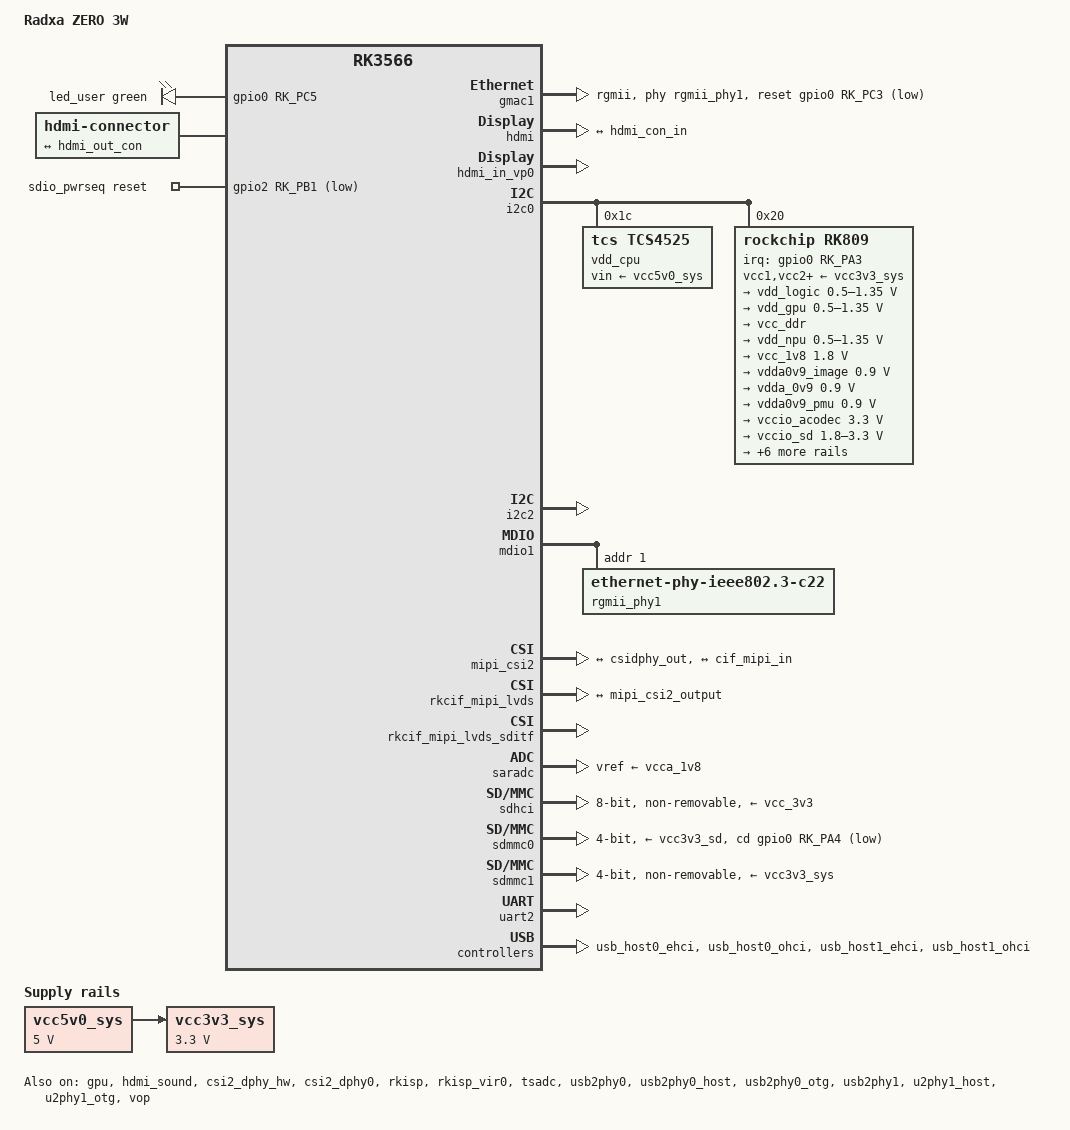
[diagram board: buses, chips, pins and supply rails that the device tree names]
// SPDX-License-Identifier: (GPL-2.0+ OR MIT)
/*
 * Copyright (c) 2024 Radxa Limited
 * Copyright (c) 2024 Retrofactory
 *
 * https://radxa.com/products/zeros/zero3w
 */

/dts-v1/;

#include <dt-bindings/gpio/gpio.h>
#include <dt-bindings/leds/common.h>
#include <dt-bindings/pinctrl/rockchip.h>
#include <dt-bindings/soc/rockchip,vop2.h>
#include "rk3566.dtsi"

/ {
	model = "Radxa ZERO 3W";
	compatible = "radxa,zero-3w", "rockchip,rk3566";

	aliases {
		ethernet0 = &gmac1;
		mmc0 = &sdhci;
		mmc1 = &sdmmc0;
		mmc2 = &sdmmc1;
	};

	chosen {
		stdout-path = "serial2:1500000n8";
	};

	leds {
		compatible = "gpio-leds";
		pinctrl-names = "default";
		pinctrl-0 = <&led_user_en>;

		led_user: led-0 {
			gpios = <&gpio0 RK_PC5 GPIO_ACTIVE_HIGH>;
			function = LED_FUNCTION_HEARTBEAT;
			color = <LED_COLOR_ID_GREEN>;
			linux,default-trigger = "heartbeat";
		};
	};

	hdmi-con {
		compatible = "hdmi-connector";
		type = "d";

		port {
			hdmi_con_in: endpoint {
				remote-endpoint = <&hdmi_out_con>;
			};
		};
	};

	vcc5v0_sys: vcc5v0-sys-regulator {
		compatible = "regulator-fixed";
		regulator-name = "vcc5v0_sys";
		regulator-always-on;
		regulator-boot-on;
		regulator-min-microvolt = <5000000>;
		regulator-max-microvolt = <5000000>;
	};

	vcc3v3_sys: vcc3v3-sys-regulator {
		compatible = "regulator-fixed";
		regulator-name = "vcc3v3_sys";
		regulator-always-on;
		regulator-boot-on;
		regulator-min-microvolt = <3300000>;
		regulator-max-microvolt = <3300000>;
		vin-supply = <&vcc5v0_sys>;
	};

	sdio_pwrseq: sdio-pwrseq {
		compatible = "mmc-pwrseq-simple";
		clocks = <&rk809 1>;
		clock-names = "ext_clock";
		pinctrl-names = "default";
		pinctrl-0 = <&wifi_enable_h>;
		post-power-on-delay-ms = <200>;
		reset-gpios = <&gpio2 RK_PB1 GPIO_ACTIVE_LOW>;
	};
};

/* combphy1 and combphy2 not defined in Rockchip vendor kernel - skipped */

&cpu0 {
	cpu-supply = <&vdd_cpu>;
};

&cpu1 {
	cpu-supply = <&vdd_cpu>;
};

&cpu2 {
	cpu-supply = <&vdd_cpu>;
};

&cpu3 {
	cpu-supply = <&vdd_cpu>;
};

&gmac1 {
	assigned-clocks = <&cru SCLK_GMAC1_RX_TX>, <&cru SCLK_GMAC1>;
	assigned-clock-parents = <&cru SCLK_GMAC1_RGMII_SPEED>, <&cru CLK_MAC1_2TOP>;
	assigned-clock-rates = <0>, <125000000>;
	clock_in_out = "output";
	phy-handle = <&rgmii_phy1>;
	phy-mode = "rgmii";
	pinctrl-names = "default";
	pinctrl-0 = <&gmac1m0_miim
		     &gmac1m0_tx_bus2
		     &gmac1m0_rx_bus2
		     &gmac1m0_rgmii_clk
		     &gmac1m0_rgmii_bus
		     &gmac1m0_clkinout>;
	snps,reset-gpio = <&gpio0 RK_PC3 GPIO_ACTIVE_LOW>;
	snps,reset-active-low;
	snps,reset-delays-us = <0 20000 100000>;
	tx_delay = <0x3c>;
	rx_delay = <0x2f>;
	status = "okay";
};

&gpu {
	mali-supply = <&vdd_gpu>;
	status = "okay";
};

&hdmi {
	avdd-0v9-supply = <&vdda0v9_image>;
	avdd-1v8-supply = <&vcca1v8_image>;
	status = "okay";

	ports {
		port@1 {
			reg = <1>;
			
			hdmi_out_con: endpoint {
				remote-endpoint = <&hdmi_con_in>;
			};
		};
	};
};

&hdmi_in_vp0 {
	remote-endpoint = <&vp0_out_hdmi>;
	status = "okay";
};

&hdmi_sound {
	status = "okay";
};

&i2c0 {
	status = "okay";

	vdd_cpu: regulator@1c {
		compatible = "tcs,tcs4525";
		reg = <0x1c>;
		fcs,suspend-voltage-selector = <1>;
		regulator-name = "vdd_cpu";
		regulator-always-on;
		regulator-boot-on;
		regulator-min-microvolt = <800000>;
		regulator-max-microvolt = <1150000>;
		regulator-ramp-delay = <2300>;
		vin-supply = <&vcc5v0_sys>;

		regulator-state-mem {
			regulator-off-in-suspend;
		};
	};

	rk809: pmic@20 {
		compatible = "rockchip,rk809";
		reg = <0x20>;
		interrupt-parent = <&gpio0>;
		interrupts = <RK_PA3 IRQ_TYPE_LEVEL_LOW>;
		#clock-cells = <1>;
		pinctrl-names = "default";
		pinctrl-0 = <&pmic_int>;
		rockchip,system-power-controller;
		vcc1-supply = <&vcc3v3_sys>;
		vcc2-supply = <&vcc3v3_sys>;
		vcc3-supply = <&vcc3v3_sys>;
		vcc4-supply = <&vcc3v3_sys>;
		vcc5-supply = <&vcc3v3_sys>;
		vcc6-supply = <&vcc3v3_sys>;
		vcc7-supply = <&vcc3v3_sys>;
		vcc8-supply = <&vcc3v3_sys>;
		vcc9-supply = <&vcc3v3_sys>;
		wakeup-source;

		regulators {
			vdd_logic: DCDC_REG1 {
				regulator-name = "vdd_logic";
				regulator-always-on;
				regulator-boot-on;
				regulator-init-microvolt = <900000>;
				regulator-initial-mode = <0x2>;
				regulator-min-microvolt = <500000>;
				regulator-max-microvolt = <1350000>;
				regulator-ramp-delay = <6001>;

				regulator-state-mem {
					regulator-off-in-suspend;
				};
			};

			vdd_gpu: DCDC_REG2 {
				regulator-name = "vdd_gpu";
				regulator-always-on;
				regulator-init-microvolt = <900000>;
				regulator-initial-mode = <0x2>;
				regulator-min-microvolt = <500000>;
				regulator-max-microvolt = <1350000>;
				regulator-ramp-delay = <6001>;

				regulator-state-mem {
					regulator-off-in-suspend;
				};
			};

			vcc_ddr: DCDC_REG3 {
				regulator-name = "vcc_ddr";
				regulator-always-on;
				regulator-boot-on;
				regulator-initial-mode = <0x2>;

				regulator-state-mem {
					regulator-on-in-suspend;
				};
			};

			vdd_npu: DCDC_REG4 {
				regulator-name = "vdd_npu";
				regulator-init-microvolt = <900000>;
				regulator-initial-mode = <0x2>;
				regulator-min-microvolt = <500000>;
				regulator-max-microvolt = <1350000>;
				regulator-ramp-delay = <6001>;

				regulator-state-mem {
					regulator-off-in-suspend;
				};
			};

			vcc_1v8: DCDC_REG5 {
				regulator-name = "vcc_1v8";
				regulator-always-on;
				regulator-boot-on;
				regulator-min-microvolt = <1800000>;
				regulator-max-microvolt = <1800000>;

				regulator-state-mem {
					regulator-off-in-suspend;
				};
			};

			vdda0v9_image: LDO_REG1 {
				regulator-name = "vdda0v9_image";
				regulator-min-microvolt = <900000>;
				regulator-max-microvolt = <900000>;

				regulator-state-mem {
					regulator-off-in-suspend;
				};
			};

			vdda_0v9: LDO_REG2 {
				regulator-name = "vdda_0v9";
				regulator-always-on;
				regulator-boot-on;
				regulator-min-microvolt = <900000>;
				regulator-max-microvolt = <900000>;

				regulator-state-mem {
					regulator-off-in-suspend;
				};
			};

			vdda0v9_pmu: LDO_REG3 {
				regulator-name = "vdda0v9_pmu";
				regulator-always-on;
				regulator-boot-on;
				regulator-min-microvolt = <900000>;
				regulator-max-microvolt = <900000>;

				regulator-state-mem {
					regulator-on-in-suspend;
					regulator-suspend-microvolt = <900000>;
				};
			};

			vccio_acodec: LDO_REG4 {
				regulator-name = "vccio_acodec";
				regulator-always-on;
				regulator-min-microvolt = <3300000>;
				regulator-max-microvolt = <3300000>;

				regulator-state-mem {
					regulator-off-in-suspend;
				};
			};

			vccio_sd: LDO_REG5 {
				regulator-name = "vccio_sd";
				regulator-min-microvolt = <1800000>;
				regulator-max-microvolt = <3300000>;

				regulator-state-mem {
					regulator-off-in-suspend;
				};
			};

			vcc3v3_pmu: LDO_REG6 {
				regulator-name = "vcc3v3_pmu";
				regulator-always-on;
				regulator-boot-on;
				regulator-min-microvolt = <3300000>;
				regulator-max-microvolt = <3300000>;

				regulator-state-mem {
					regulator-on-in-suspend;
					regulator-suspend-microvolt = <3300000>;
				};
			};

			vcca_1v8: LDO_REG7 {
				regulator-name = "vcca_1v8";
				regulator-always-on;
				regulator-boot-on;
				regulator-min-microvolt = <1800000>;
				regulator-max-microvolt = <1800000>;

				regulator-state-mem {
					regulator-off-in-suspend;
				};
			};

			vcca1v8_pmu: LDO_REG8 {
				regulator-name = "vcca1v8_pmu";
				regulator-always-on;
				regulator-boot-on;
				regulator-min-microvolt = <1800000>;
				regulator-max-microvolt = <1800000>;

				regulator-state-mem {
					regulator-on-in-suspend;
					regulator-suspend-microvolt = <1800000>;
				};
			};

			vcca1v8_image: LDO_REG9 {
				regulator-name = "vcca1v8_image";
				regulator-min-microvolt = <1800000>;
				regulator-max-microvolt = <1800000>;

				regulator-state-mem {
					regulator-off-in-suspend;
				};
			};

			vcc_3v3: SWITCH_REG1 {
				regulator-name = "vcc_3v3";
				regulator-always-on;
				regulator-boot-on;

				regulator-state-mem {
					regulator-off-in-suspend;
				};
			};

			vcc3v3_sd: SWITCH_REG2 {
				regulator-name = "vcc3v3_sd";
				regulator-always-on;
				regulator-boot-on;

				regulator-state-mem {
					regulator-off-in-suspend;
				};
			};
		};
	};
};

/* I2C2 - MIPI CSI Camera interface (sensor added via overlay) */
&i2c2 {
	status = "okay";
	pinctrl-names = "default";
	pinctrl-0 = <&i2c2m1_xfer>;
};

&mdio1 {
	rgmii_phy1: ethernet-phy@1 {
		compatible = "ethernet-phy-ieee802.3-c22";
		reg = <0x1>;
		pinctrl-names = "default";
		pinctrl-0 = <&eth_phy_rst>;
	};
};

&pmu_io_domains {
	pmuio1-supply = <&vcc3v3_pmu>;
	pmuio2-supply = <&vcc3v3_pmu>;
	vccio1-supply = <&vccio_acodec>;
	vccio2-supply = <&vcc_1v8>;
	vccio3-supply = <&vccio_sd>;
	vccio4-supply = <&vcc_1v8>;
	vccio5-supply = <&vcc_3v3>;
	vccio6-supply = <&vcc_1v8>;
	vccio7-supply = <&vcc_3v3>;
	status = "okay";
};

&pinctrl {
	ethernet {
		eth_phy_rst: eth-phy-rst {
			rockchip,pins = <0 RK_PC3 RK_FUNC_GPIO &pcfg_pull_none>;
		};
	};

	leds {
		led_user_en: led-user-en {
			rockchip,pins = <0 RK_PC5 RK_FUNC_GPIO &pcfg_pull_none>;
		};
	};

	pmic {
		pmic_int: pmic-int {
			rockchip,pins = <0 RK_PA3 RK_FUNC_GPIO &pcfg_pull_up>;
		};
	};

	sdio-pwrseq {
		wifi_enable_h: wifi-enable-h {
			rockchip,pins = <2 RK_PB1 RK_FUNC_GPIO &pcfg_pull_none>;
		};
	};

	camera {
		cam_pins: cam-pins {
			rockchip,pins =
				/* Camera powerdown */
				<3 RK_PC6 RK_FUNC_GPIO &pcfg_pull_none>,
				/* Camera reset */
				<3 RK_PC5 RK_FUNC_GPIO &pcfg_pull_none>;
		};
	};
};

/* Camera pipeline: IMX708 → CSI2 PHY → MIPI CSI2 → RKCIF → RKISP → /dev/video */

&csi2_dphy_hw {
	status = "okay";
};

&csi2_dphy0 {
	status = "okay";

	ports {
		#address-cells = <1>;
		#size-cells = <0>;

		port@0 {
			reg = <0>;
			/* Camera sensor endpoint added by overlay */
		};

		port@1 {
			reg = <1>;
			csidphy_out: endpoint {
				remote-endpoint = <&mipi_csi2_input>;
			};
		};
	};
};

&mipi_csi2 {
	status = "okay";

	ports {
		#address-cells = <1>;
		#size-cells = <0>;

		port@0 {
			reg = <0>;
			mipi_csi2_input: endpoint {
				remote-endpoint = <&csidphy_out>;
			};
		};

		port@1 {
			reg = <1>;
			mipi_csi2_output: endpoint {
				remote-endpoint = <&cif_mipi_in>;
			};
		};
	};
};

&rkcif_mipi_lvds {
	status = "okay";

	port {
		cif_mipi_in: endpoint {
			remote-endpoint = <&mipi_csi2_output>;
		};
	};
};

&rkcif_mipi_lvds_sditf {
	status = "okay";
};

&rkisp {
	status = "okay";
};

&rkisp_mmu {
	status = "okay";
};

&rkisp_vir0 {
	status = "okay";
};

&saradc {
	vref-supply = <&vcca_1v8>;
	status = "okay";
};

&sdhci {
	bus-width = <8>;
	max-frequency = <200000000>;
	non-removable;
	pinctrl-names = "default";
	pinctrl-0 = <&emmc_bus8 &emmc_clk &emmc_cmd &emmc_datastrobe>;
	vmmc-supply = <&vcc_3v3>;
	vqmmc-supply = <&vcc_1v8>;
	status = "okay";
};

&sdmmc0 {
	bus-width = <4>;
	cap-sd-highspeed;
	cd-gpios = <&gpio0 RK_PA4 GPIO_ACTIVE_LOW>;
	disable-wp;
	pinctrl-names = "default";
	pinctrl-0 = <&sdmmc0_bus4 &sdmmc0_clk &sdmmc0_cmd &sdmmc0_det>;
	sd-uhs-sdr50;
	vmmc-supply = <&vcc3v3_sd>;
	vqmmc-supply = <&vccio_sd>;
	status = "okay";
};

&sdmmc1 {
	bus-width = <4>;
	cap-sd-highspeed;
	cap-sdio-irq;
	keep-power-in-suspend;
	mmc-pwrseq = <&sdio_pwrseq>;
	non-removable;
	pinctrl-names = "default";
	pinctrl-0 = <&sdmmc1_bus4 &sdmmc1_cmd &sdmmc1_clk>;
	sd-uhs-sdr104;
	vmmc-supply = <&vcc3v3_sys>;
	vqmmc-supply = <&vcc_1v8>;
	status = "okay";
};

&tsadc {
	rockchip,hw-tshut-mode = <1>;
	rockchip,hw-tshut-polarity = <0>;
	status = "okay";
};

&uart2 {
	status = "okay";
};

&usb_host0_ehci {
	status = "okay";
};

&usb_host0_ohci {
	status = "okay";
};

&usb_host1_ehci {
	status = "okay";
};

&usb_host1_ohci {
	status = "okay";
};

&usb2phy0 {
	status = "okay";
};

&usb2phy0_host {
	phy-supply = <&vcc5v0_sys>;
	status = "okay";
};

&usb2phy0_otg {
	phy-supply = <&vcc5v0_sys>;
	status = "okay";
};

/* usb2phy1 exists in vendor kernel, but child nodes use different naming */
&usb2phy1 {
	status = "okay";
};

&u2phy1_host {
	phy-supply = <&vcc5v0_sys>;
	status = "okay";
};

&u2phy1_otg {
	phy-supply = <&vcc5v0_sys>;
	status = "okay";
};

&vop {
	assigned-clocks = <&cru DCLK_VOP0>, <&cru DCLK_VOP1>;
	assigned-clock-parents = <&pmucru PLL_HPLL>, <&cru PLL_VPLL>;
	status = "okay";
};

&vop_mmu {
	status = "okay";
};

&vp0_out_hdmi {
	remote-endpoint = <&hdmi_in_vp0>;
};
